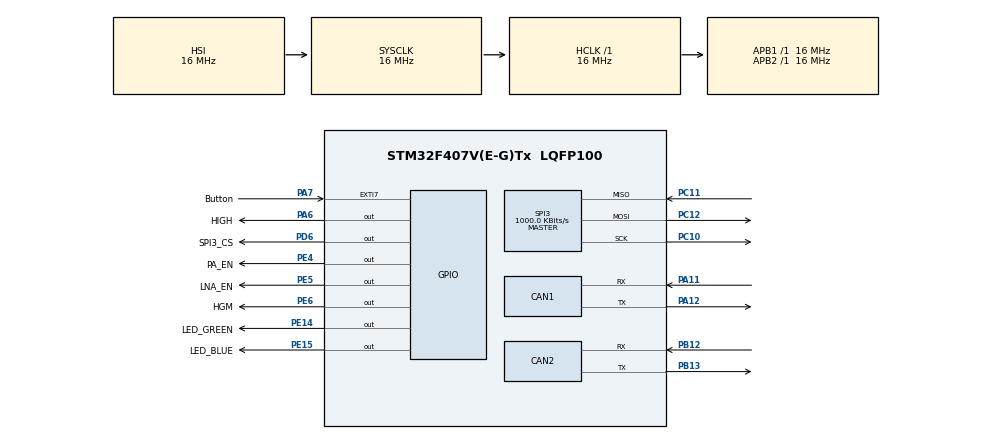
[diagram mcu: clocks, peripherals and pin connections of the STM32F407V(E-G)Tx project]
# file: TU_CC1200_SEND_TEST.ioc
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CAN1.CalculateTimeQuantum=1000.0
CAN2.CalculateTimeQuantum=1000.0
Mcu.Family=STM32F4
Mcu.Name=STM32F407V(E-G)Tx
Mcu.Package=LQFP100
NVIC.EXTI9_5_IRQn=true\:0\:0\:false\:false\:true\:true\:true
NVIC.PriorityGroup=NVIC_PRIORITYGROUP_4
PA11.Mode=Master
PA11.Signal=CAN1_RX
PA12.Mode=Master
PA12.Signal=CAN1_TX
PA13.Mode=Serial_Wire
PA13.Signal=SYS_JTMS-SWDIO
PA14.Mode=Serial_Wire
PA14.Signal=SYS_JTCK-SWCLK
PA6.GPIO_Label=HIGH
PA6.PinState=GPIO_PIN_SET
PA6.Signal=GPIO_Output
PA7.GPIO_Label=Button
PA7.Signal=GPXTI7
PB12.Mode=Slave
PB12.Signal=CAN2_RX
PB13.Mode=Slave
PB13.Signal=CAN2_TX
PC10.Mode=Full_Duplex_Master
PC10.Signal=SPI3_SCK
PC11.Mode=Full_Duplex_Master
PC11.Signal=SPI3_MISO
PC12.Mode=Full_Duplex_Master
PC12.Signal=SPI3_MOSI
PD6.GPIO_Label=SPI3_CS
PD6.Signal=GPIO_Output
PE14.GPIO_Label=LED_GREEN
PE14.Signal=GPIO_Output
PE15.GPIO_Label=LED_BLUE
PE15.Signal=GPIO_Output
PE4.GPIO_Label=PA_EN
PE4.PinState=GPIO_PIN_SET
PE4.Signal=GPIO_Output
PE5.GPIO_Label=LNA_EN
PE5.Signal=GPIO_Output
PE6.GPIO_Label=HGM
PE6.PinState=GPIO_PIN_SET
PE6.Signal=GPIO_Output
ProjectManager.HeapSize=0x200
ProjectManager.StackSize=0x400
ProjectManager.TargetToolchain=STM32CubeIDE
RCC.AHBFreq_Value=16000000
RCC.APB1Freq_Value=16000000
RCC.APB2Freq_Value=16000000
RCC.CortexFreq_Value=16000000
RCC.HSE_VALUE=25000000
RCC.HSI_VALUE=16000000
RCC.LSE_VALUE=32768
RCC.SYSCLKFreq_VALUE=16000000
RCC.VCOOutputFreq_Value=192000000
SPI3.BaudRatePrescaler=SPI_BAUDRATEPRESCALER_16
SPI3.CalculateBaudRate=1000.0 KBits/s
SPI3.Direction=SPI_DIRECTION_2LINES
SPI3.Mode=SPI_MODE_MASTER
SPI3.VirtualType=VM_MASTER
board=custom

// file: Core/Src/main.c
/* USER CODE BEGIN Header */
/**
  ******************************************************************************
  * @file           : main.c
  * @brief          : Main program body
  ******************************************************************************
  * @attention
  *
  * <h2><center>&copy; Copyright (c) 2021 STMicroelectronics.
  * All rights reserved.</center></h2>
  *
  * This software component is licensed by ST under BSD 3-Clause license,
  * the "License"; You may not use this file except in compliance with the
  * License. You may obtain a copy of the License at:
  *                        opensource.org/licenses/BSD-3-Clause
  *
  ******************************************************************************
  */
/* USER CODE END Header */

#include "main.h"

/* USER CODE BEGIN PD */
//COMMAND STROBES
#define SRES           0x30        //Reset chip
#define SFSTXON        0x31        //Enable and calibrate frequency synthesizer (if SETTLING_CFG.FS_AUTOCAL = 1).If in RX and PKT_CFG2.CCA_MODE ≠ 0: Go to a wait state where only the synthesizer isrunning (for quick
#define SXOFF          0x32        //Enter XOFF state when CSn
#define SCAL           0x33        //Calibrate frequency synthesizer and turn it off. SCAL can be strobed from IDLE mode withoutsetting manual calibration mode (SETTLING_CFG.FS_AUTOCAL
#define SRX            0x34        //Enable RX. Perform calibration first if coming from IDLE and SETTLING_CFG.FS_AUTOCAL
#define STX            0x35        //In IDLE state: Enable TX. Perform calibration first if SETTLING_CFG.FS_AUTOCAL = 1. If in RX state and PKT_CFG2.CCA_MODE ≠ 0: Only go to TX if channel
#define SIDLE          0x36        //Exit RX/TX, turn off frequency synthesizer and exit eWOR mode
#define SAFC           0x37        //Automatic
#define SWOR           0x38        //Start automatic RX polling sequence (eWOR) as described in Section 9.6 ifWOR_CFG0.RC_PD
#define SPWD           0x39        //Enter SLEEP mode when CSn
#define SFRX           0x3A        //Flush the RX FIFO. Only issue SFRX in IDLE or
#define SFTX           0x3B        //Flush the TX FIFO. Only issue SFTX in IDLE or
#define SWORRST        0x3C        //Reset the eWOR timer to the
#define SNOP           0x3D        //No operation. May be used to get access to the chip

//configuration registers
#define IOCFG3                   0x0000
#define IOCFG2                   0x0001
#define IOCFG1                   0x0002
#define IOCFG0                   0x0003
#define SYNC3                    0x0004
#define SYNC2                    0x0005
#define SYNC1                    0x0006
#define SYNC0                    0x0007
#define SYNC_CFG1                0x0008
#define SYNC_CFG0                0x0009
#define DEVIATION_M              0x000A
#define MODCFG_DEV_E             0x000B
#define DCFILT_CFG               0x000C
#define PREAMBLE_CFG1            0x000D
#define PREAMBLE_CFG0            0x000E
#define IQIC                     0x000F
#define CHAN_BW                  0x0010
#define MDMCFG1                  0x0011
#define MDMCFG0                  0x0012
#define SYMBOL_RATE2             0x0013
#define SYMBOL_RATE1             0x0014
#define SYMBOL_RATE0             0x0015
#define AGC_REF                  0x0016
#define AGC_CS_THR               0x0017
#define AGC_GAIN_ADJUST          0x0018
#define AGC_CFG3                 0x0019
#define AGC_CFG2                 0x001A
#define AGC_CFG1                 0x001B
#define AGC_CFG0                 0x001C
#define FIFO_CFG                 0x001D
#define DEV_ADDR                 0x001E
#define SETTLING_CFG             0x001F
#define FS_CFG                   0x0020
#define WOR_CFG1                 0x0021
#define WOR_CFG0                 0x0022
#define WOR_EVENT0_MSB           0x0023
#define WOR_EVENT0_LSB           0x0024
#define RXDCM_TIME               0x0025
#define PKT_CFG2                 0x0026
#define PKT_CFG1                 0x0027
#define PKT_CFG0                 0x0028
#define RFEND_CFG1               0x0029
#define RFEND_CFG0               0x002A
#define PA_CFG1                  0x002B
#define PA_CFG0                  0x002C
#define ASK_CFG                  0x002D
#define PKT_LEN                  0x002E

// Extended Configuration Registers
#define IF_MIX_CFG               0x2F00
#define FREQOFF_CFG              0x2F01
#define TOC_CFG                  0x2F02
#define MARC_SPARE               0x2F03
#define ECG_CFG                  0x2F04
#define MDMCFG2                  0x2F05
#define EXT_CTRL                 0x2F06
#define RCCAL_FINE               0x2F07
#define RCCAL_COARSE             0x2F08
#define RCCAL_OFFSET             0x2F09
#define FREQOFF1                 0x2F0A
#define FREQOFF0                 0x2F0B
#define FREQ2                    0x2F0C
#define FREQ1                    0x2F0D
#define FREQ0                    0x2F0E
#define IF_ADC2                  0x2F0F
#define IF_ADC1                  0x2F10
#define IF_ADC0                  0x2F11
#define FS_DIG1                  0x2F12
#define FS_DIG0                  0x2F13
#define FS_CAL3                  0x2F14
#define FS_CAL2                  0x2F15
#define FS_CAL1                  0x2F16
#define FS_CAL0                  0x2F17
#define FS_CHP                   0x2F18
#define FS_DIVTWO                0x2F19
#define FS_DSM1                  0x2F1A
#define FS_DSM0                  0x2F1B
#define FS_DVC1                  0x2F1C
#define FS_DVC0                  0x2F1D
#define FS_LBI                   0x2F1E
#define FS_PFD                   0x2F1F
#define FS_PRE                   0x2F20
#define FS_REG_DIV_CML           0x2F21
#define FS_SPARE                 0x2F22
#define FS_VCO4                  0x2F23
#define FS_VCO3                  0x2F24
#define FS_VCO2                  0x2F25
#define FS_VCO1                  0x2F26
#define FS_VCO0                  0x2F27
#define GBIAS6                   0x2F28
#define GBIAS5                   0x2F29
#define GBIAS4                   0x2F2A
#define GBIAS3                   0x2F2B
#define GBIAS2                   0x2F2C
#define GBIAS1                   0x2F2D
#define GBIAS0                   0x2F2E
#define IFAMP                    0x2F2F
#define LNA                      0x2F30
#define RXMIX                    0x2F31
#define XOSC5                    0x2F32
#define XOSC4                    0x2F33
#define XOSC3                    0x2F34
#define XOSC2                    0x2F35
#define XOSC1                    0x2F36
#define XOSC0                    0x2F37
#define ANALOG_SPARE             0x2F38
#define PA_CFG3                  0x2F39
#define IRQ0M                    0x2F3F
#define IRQ0F                    0x2F40

// Status Registers
#define WOR_TIME1                0x2F64
#define WOR_TIME0                0x2F65
#define WOR_CAPTURE1             0x2F66
#define WOR_CAPTURE0             0x2F67
#define BIST                     0x2F68
#define DCFILTOFFSET_I1          0x2F69
#define DCFILTOFFSET_I0          0x2F6A
#define DCFILTOFFSET_Q1          0x2F6B
#define DCFILTOFFSET_Q0          0x2F6C
#define IQIE_I1                  0x2F6D
#define IQIE_I0                  0x2F6E
#define IQIE_Q1                  0x2F6F
#define IQIE_Q0                  0x2F70
#define RSSI1                    0x2F71
#define RSSI0                    0x2F72
#define MARCSTATE                0x2F73
#define LQI_VAL                  0x2F74
#define PQT_SYNC_ERR             0x2F75
#define DEM_STATUS               0x2F76
#define FREQOFF_EST1             0x2F77
#define FREQOFF_EST0             0x2F78
#define AGC_GAIN3                0x2F79
#define AGC_GAIN2                0x2F7A
#define AGC_GAIN1                0x2F7B
#define AGC_GAIN0                0x2F7C
#define CFM_RX_DATA_OUT          0x2F7D
#define CFM_TX_DATA_IN           0x2F7E
#define ASK_SOFT_RX_DATA         0x2F7F
#define RNDGEN                   0x2F80
#define MAGN2                    0x2F81
#define MAGN1                    0x2F82
#define MAGN0                    0x2F83
#define ANG1                     0x2F84
#define ANG0                     0x2F85
#define CHFILT_I2                0x2F86
#define CHFILT_I1                0x2F87
#define CHFILT_I0                0x2F88
#define CHFILT_Q2                0x2F89
#define CHFILT_Q1                0x2F8A
#define CHFILT_Q0                0x2F8B
#define GPIO_STATUS              0x2F8C
#define FSCAL_CTRL               0x2F8D
#define PHASE_ADJUST             0x2F8E
#define PARTNUMBER               0x2F8F
#define PARTVERSION              0x2F90
#define SERIAL_STATUS            0x2F91
#define MODEM_STATUS1            0x2F92
#define MODEM_STATUS0            0x2F93
#define MARC_STATUS1             0x2F94
#define MARC_STATUS0             0x2F95
#define PA_IFAMP_TEST            0x2F96
#define FSRF_TEST                0x2F97
#define PRE_TEST                 0x2F98
#define PRE_OVR                  0x2F99
#define ADC_TEST                 0x2F9A
#define DVC_TEST                 0x2F9B
#define ATEST                    0x2F9C
#define ATEST_LVDS               0x2F9D
#define ATEST_MODE               0x2F9E
#define XOSC_TEST1               0x2F9F
#define XOSC_TEST0               0x2FA0
#define AES                      0x2FA1
#define MDM_TEST                 0x2FA2

#define RXFIRST                  0x2FD2
#define TXFIRST                  0x2FD3
#define RXLAST                   0x2FD4
#define TXLAST                   0x2FD5
#define NUM_TXBYTES              0x2FD6  /* Number of bytes in TXFIFO */
#define NUM_RXBYTES              0x2FD7  /* Number of bytes in RXFIFO */
#define FIFO_NUM_TXBYTES         0x2FD8
#define FIFO_NUM_RXBYTES         0x2FD9
#define RXFIFO_PRE_BUF           0x2FDA

// DATA FIFO Access
#define SINGLE_TXFIFO            0x003F     /*  TXFIFO  - Single accecss to Transmit FIFO */
#define BURST_TXFIFO             0x007F     /*  TXFIFO  - Burst accecss to Transmit FIFO  */
#define SINGLE_RXFIFO            0x00BF     /*  RXFIFO  - Single accecss to Receive FIFO  */
#define BURST_RXFIFO             0x00FF     /*  RXFIFO  - Busrrst ccecss to Receive FIFO  */

// Other Register Access
#define RADIO_BURST_ACCESS   	0x40
#define RADIO_SINGLE_ACCESS  	0x00
#define RADIO_READ_ACCESS    	0x80
#define RADIO_WRITE_ACCESS   	0x00

/* USER CODE END PD */

CAN_HandleTypeDef hcan1;
CAN_HandleTypeDef hcan2;

SPI_HandleTypeDef hspi3;

/* USER CODE BEGIN PV */
char SPI_BUFFER[8];
int state = 2;
int prev_state = 1;

/* USER CODE END PV */

void SystemClock_Config(void);
static void MX_GPIO_Init(void);
static void MX_CAN1_Init(void);
static void MX_CAN2_Init(void);
static void MX_SPI3_Init(void);

/* USER CODE BEGIN 0 */
// Select CS
void CS_Select()  {
	HAL_GPIO_WritePin(SPI3_CS_GPIO_Port, SPI3_CS_Pin, GPIO_PIN_RESET);

}

// Deselect CS
void CS_Deselect()  {
	HAL_GPIO_WritePin(SPI3_CS_GPIO_Port, SPI3_CS_Pin, GPIO_PIN_SET);

}

// Waits until MISO goes low
void wait_Miso() {
	while(HAL_GPIO_ReadPin(GPIOC,GPIO_PIN_11)>0){
		__NOP();
	}
}

//Write to register
void writeReg(uint16_t regAddr, uint8_t value)
{
	uint8_t extended_or_not  = (uint8_t)(regAddr>>8);
	uint8_t extended_addr = (uint8_t)(regAddr & 0x00FF);
	if (extended_or_not == 0){
		CS_Select();                     									   // Select CS
		wait_Miso();                          							  	 // Wait until MISO goes low
		HAL_SPI_Transmit(&hspi3, (uint8_t*)&regAddr, 1, 100);                // Send register address
		HAL_SPI_Transmit(&hspi3, (uint8_t*)&value, 1, 100);                  // Send value
		CS_Deselect();                    	   							   // Deselect CC1101
	}
	else if (extended_or_not == 0x2F){
		CS_Select();                     								   // Select CS
		wait_Miso();                          							   // Wait until MISO goes low
		HAL_SPI_Transmit(&hspi3, (uint8_t*)&extended_or_not, 1, 100);      // Access the extended registers
		HAL_SPI_Transmit(&hspi3, (uint8_t*)&extended_addr, 1, 100);        // Send register address
		HAL_SPI_Transmit(&hspi3, (uint8_t*)&value, 1, 100);				   // Send value
		CS_Deselect();                    	   							   // Deselect CC1101
	}
}

// Write to register (ONLY USED FOR SETTING THE INTIAL SETTINGS. The name is "halRfWriteReg" so it matches with SMARTRF Studio
void halRfWriteReg(uint16_t setting, uint8_t value)
{
	writeReg(setting, value);
}

// Send command strobe (FIFO_BYTES_AVAILABLE CASE 1)
void command_strobe1(uint8_t cmd){
    cmd = cmd | 0x00;                									// | 0x00 means that R/W=0(FIFO_BYTES_AVAILABLE means the TXFIFO when status byte has been sent)/ burst=0(strobe)
    CS_Select();            		 									// set the CS pin to LOW
    wait_Miso();                          								// Wait until MISO goes low
    HAL_SPI_Transmit(&hspi3, (uint8_t*)&cmd, 1, 100);                   // Send register address
    CS_Deselect();
  }

// Read register
void readReg(uint16_t regAddr) {
    uint8_t addr;
    uint8_t extended_or_not  = (uint8_t)(regAddr>>8);
    uint8_t extended_addr = (uint8_t)(regAddr & 0x00FF);
    // With cc1200 there are 2 types of register accesses and the following code choose the right one.
    if (extended_or_not == 0){
		addr = regAddr | RADIO_READ_ACCESS;			  						 // Bitwise and to get the right address
		CS_Select();                										 // set the SS pin to LOW
		wait_Miso();                          								 // Wait until MISO goes low
		HAL_SPI_Transmit(&hspi3, (uint8_t*)&addr, 1, 100);                   // Send register address
		HAL_SPI_Receive(&hspi3, (uint8_t*)&SPI_BUFFER, 1, 100);            	 // Read result
		CS_Deselect();                    							 		 // set the SS pin to HIGH
	}
    else if (extended_or_not == 0x2F){
    	extended_or_not = extended_or_not | RADIO_READ_ACCESS;			  				 // Bitwise and to get the right address
		CS_Select();                										 // set the SS pin to LOW
		wait_Miso();                          								 // Wait until MISO goes low
		HAL_SPI_Transmit(&hspi3, (uint8_t*)&extended_or_not, 1, 100);		 // Access the extended registers
		HAL_SPI_Transmit(&hspi3, (uint8_t*)&extended_addr, 1, 100);                   // Send register address
		HAL_SPI_Receive(&hspi3, (uint8_t*)&SPI_BUFFER, 1, 100);            	 // Read result
		CS_Deselect();                    							 		 // set the SS pin to HIGH

    }
}

// Send data with sequence numbers
void send_data_sequence(char databuffer[],uint8_t length,uint16_t sequence ){
	int i;
	uint8_t element;
	uint8_t LSB_seq;
	uint8_t MSB_seq;
	LSB_seq = sequence & 0xFF;
	MSB_seq = sequence >> 8;
	CS_Select();                		 								// set the CS pin to LOW
    wait_Miso();                         								// Wait until MISO goes low
    uint8_t TXfifo = SINGLE_TXFIFO;
    HAL_SPI_Transmit(&hspi3, (uint8_t*)&TXfifo, 1, 100);               // Access the TX_FIFO register
    HAL_SPI_Transmit(&hspi3, (uint8_t*)&length, 1, 100);			   // Send length of data
    HAL_SPI_Transmit(&hspi3, (uint8_t*)&TXfifo, 1, 100);               // Access the TX_FIFO register
    HAL_SPI_Transmit(&hspi3, (uint8_t*)&MSB_seq, 1, 100);			   // Send MSB of sequence number
    HAL_SPI_Transmit(&hspi3, (uint8_t*)&TXfifo, 1, 100);               // Access the TX_FIFO register
    HAL_SPI_Transmit(&hspi3, (uint8_t*)&LSB_seq, 1, 100);			   // Send LSB of sequence number
    for (i = 0; i < length-2; ++i)
        {
          element = databuffer[i];
		  HAL_SPI_Transmit(&hspi3, (uint8_t*)&TXfifo, 1, 100);               // Send the data
		  HAL_SPI_Transmit(&hspi3, (uint8_t*)&element, 1, 100);                  // Send data
        }
    CS_Deselect();
}

/* USER CODE END 0 */

int main(void)
{
  /* USER CODE BEGIN 1 */

	int datalen = 4;   // Set length of payload. Note that the first length byte is not inluded in this.
						// However the 2 sequence bytes are included. Max value is 63.
	char data[datalen];

	uint16_t sequence_number = 1;
  /* USER CODE END 1 */

  /* MCU Configuration--------------------------------------------------------*/

  /* Reset of all peripherals, Initializes the Flash interface and the Systick. */
  HAL_Init();

  /* Configure the system clock */
  SystemClock_Config();

  /* Initialize all configured peripherals */
  MX_GPIO_Init();
  MX_CAN1_Init();
  MX_CAN2_Init();
  MX_SPI3_Init();
  /* USER CODE BEGIN 2 */
  HAL_GPIO_WritePin(SPI3_CS_GPIO_Port, SPI3_CS_Pin, GPIO_PIN_SET);
  HAL_GPIO_WritePin(PA_EN_GPIO_Port, PA_EN_Pin, GPIO_PIN_SET);
  HAL_GPIO_WritePin(HGM_GPIO_Port, HGM_Pin, GPIO_PIN_RESET);
  HAL_GPIO_WritePin(LNA_EN_GPIO_Port, LNA_EN_Pin, GPIO_PIN_RESET);
  HAL_GPIO_WritePin(LED_GREEN_GPIO_Port, LED_GREEN_Pin, GPIO_PIN_SET);
  HAL_GPIO_WritePin(LED_BLUE_GPIO_Port, LED_BLUE_Pin, GPIO_PIN_RESET);

  // CC1200_settings
  halRfWriteReg(IOCFG2,0x06);        //GPIO2 IO Pin Configuration
  halRfWriteReg(SYNC_CFG1,0xA9);     //Sync Word Detection Configuration Reg. 1
  halRfWriteReg(MODCFG_DEV_E,0x0B);  //Modulation Format and Frequency Deviation Configur..
  halRfWriteReg(PREAMBLE_CFG0,0x8A); //Preamble Detection Configuration Reg. 0
  halRfWriteReg(IQIC,0xC8);          //Digital Image Channel Compensation Configuration
  halRfWriteReg(CHAN_BW,0x0B);       //Channel Filter Configuration
  halRfWriteReg(MDMCFG1,0x40);       //General Modem Parameter Configuration Reg. 1
  halRfWriteReg(MDMCFG0,0x05);       //General Modem Parameter Configuration Reg. 0
  halRfWriteReg(SYMBOL_RATE2,0x9C);  //Symbol Rate Configuration Exponent and Mantissa [1..
  halRfWriteReg(SYMBOL_RATE1,0xAC);  //Symbol Rate Configuration Mantissa [15:8]
  halRfWriteReg(SYMBOL_RATE0,0x08);  //Symbol Rate Configuration Mantissa [7:0]
  halRfWriteReg(AGC_REF,0x28);       //AGC Reference Level Configuration
  halRfWriteReg(AGC_CS_THR,0xEE);    //Carrier Sense Threshold Configuration
  halRfWriteReg(AGC_CFG1,0x11);      //Automatic Gain Control Configuration Reg. 1
  halRfWriteReg(AGC_CFG0,0x94);      //Automatic Gain Control Configuration Reg. 0
  halRfWriteReg(FIFO_CFG,0x00);      //FIFO Configuration
  halRfWriteReg(FS_CFG,0x12);        //Frequency Synthesizer Configuration
  halRfWriteReg(PKT_CFG2,0x00);      //Packet Configuration Reg. 2
  halRfWriteReg(PKT_CFG1,0x43);      //Packet Configuration Reg. 1
  halRfWriteReg(PKT_CFG0,0x20);      //Packet Configuration Reg. 0
  halRfWriteReg(PA_CFG0,0x53);       //Power Amplifier Configuration Reg. 0
  halRfWriteReg(PKT_LEN,0xFF);       //Packet Length Configuration
  halRfWriteReg(IF_MIX_CFG,0x1C);    //IF Mix Configuration
  halRfWriteReg(FREQOFF_CFG,0x22);   //Frequency Offset Correction Configuration
  halRfWriteReg(TOC_CFG,0x03);       //Timing Offset Correction Configuration
  halRfWriteReg(MDMCFG2,0x02);       //General Modem Parameter Configuration Reg. 2
  halRfWriteReg(FREQ2,0x57);         //Frequency Configuration [23:16]
  halRfWriteReg(FREQ1,0x0F);         //Frequency Configuration [15:8]
  halRfWriteReg(FREQ0,0x5C);         //Frequency Configuration [7:0]
  halRfWriteReg(IF_ADC1,0xEE);       //Analog to Digital Converter Configuration Reg. 1
  halRfWriteReg(IF_ADC0,0x10);       //Analog to Digital Converter Configuration Reg. 0
  halRfWriteReg(FS_DIG1,0x04);       //Frequency Synthesizer Digital Reg. 1
  halRfWriteReg(FS_DIG0,0x50);       //Frequency Synthesizer Digital Reg. 0
  halRfWriteReg(FS_CAL1,0x40);       //Frequency Synthesizer Calibration Reg. 1
  halRfWriteReg(FS_CAL0,0x0E);       //Frequency Synthesizer Calibration Reg. 0
  halRfWriteReg(FS_DIVTWO,0x03);     //Frequency Synthesizer Divide by 2
  halRfWriteReg(FS_DSM0,0x33);       //FS Digital Synthesizer Module Configuration Reg. 0
  halRfWriteReg(FS_DVC1,0xF7);       //Frequency Synthesizer Divider Chain Configuration ..
  halRfWriteReg(FS_DVC0,0x0F);       //Frequency Synthesizer Divider Chain Configuration ..
  halRfWriteReg(FS_PFD,0x00);        //Frequency Synthesizer Phase Frequency Detector Con..
  halRfWriteReg(FS_PRE,0x6E);        //Frequency Synthesizer Prescaler Configuration
  halRfWriteReg(FS_REG_DIV_CML,0x1C);//Frequency Synthesizer Divider Regulator Configurat..
  halRfWriteReg(FS_SPARE,0xAC);      //Frequency Synthesizer Spare
  halRfWriteReg(FS_VCO0,0xB5);       //FS Voltage Controlled Oscillator Configuration Reg..
  halRfWriteReg(IFAMP,0x09);         //Intermediate Frequency Amplifier Configuration
  halRfWriteReg(XOSC5,0x0E);         //Crystal Oscillator Configuration Reg. 5
  halRfWriteReg(XOSC1,0x03);         //Crystal Oscillator Configuration Reg. 1
  halRfWriteReg(PARTNUMBER,0x20);    //Part Number
  halRfWriteReg(PARTVERSION,0x11);   //Part Revision
  halRfWriteReg(MODEM_STATUS1,0x10); //Modem Status Reg. 1

  // Create data array
	int i;
	for (i = 0; i < sizeof(data); ++i)
	  {
		data[i] = 2 * i;
	  }
  /* USER CODE END 2 */

  /* Infinite loop */
  /* USER CODE BEGIN WHILE */
  while (1)
  {

	  if (state == 2){
		  if (prev_state != 2){
		  readReg(MARCSTATE);
		  sequence_number = 1;
		  prev_state = 2;

	  	  }

	  }
	  if (state == 1){

		  if (prev_state != 1){

		  readReg(MARCSTATE);

		  readReg(NUM_TXBYTES);

		  prev_state = 1;
		  }

		  readReg(NUM_TXBYTES);
		  if (SPI_BUFFER[0] == 0){

		  send_data_sequence(data, datalen,sequence_number);

		  sequence_number += 1;
		  if (sequence_number > 10000){
			  sequence_number = 1;
		  }
		  }

//		  readReg(TXBYTES, STATUS_REGISTER);

		  readReg(NUM_TXBYTES);
		  command_strobe1(STX);

		  //command_strobe1(SFTX); VAR FÖRSIKTIG!!!!!!!

	  }
	  HAL_Delay(1);

    /* USER CODE END WHILE */

  }
}

void SystemClock_Config(void)
{
  RCC_OscInitTypeDef RCC_OscInitStruct = {0};
  RCC_ClkInitTypeDef RCC_ClkInitStruct = {0};

  /** Configure the main internal regulator output voltage
  */
  __HAL_RCC_PWR_CLK_ENABLE();
  __HAL_PWR_VOLTAGESCALING_CONFIG(PWR_REGULATOR_VOLTAGE_SCALE1);
  /** Initializes the CPU, AHB and APB busses clocks
  */
  RCC_OscInitStruct.OscillatorType = RCC_OSCILLATORTYPE_HSI;
  RCC_OscInitStruct.HSIState = RCC_HSI_ON;
  RCC_OscInitStruct.HSICalibrationValue = RCC_HSICALIBRATION_DEFAULT;
  RCC_OscInitStruct.PLL.PLLState = RCC_PLL_NONE;
  if (HAL_RCC_OscConfig(&RCC_OscInitStruct) != HAL_OK)
  {
    Error_Handler();
  }
  /** Initializes the CPU, AHB and APB busses clocks
  */
  RCC_ClkInitStruct.ClockType = RCC_CLOCKTYPE_HCLK|RCC_CLOCKTYPE_SYSCLK
                              |RCC_CLOCKTYPE_PCLK1|RCC_CLOCKTYPE_PCLK2;
  RCC_ClkInitStruct.SYSCLKSource = RCC_SYSCLKSOURCE_HSI;
  RCC_ClkInitStruct.AHBCLKDivider = RCC_SYSCLK_DIV1;
  RCC_ClkInitStruct.APB1CLKDivider = RCC_HCLK_DIV1;
  RCC_ClkInitStruct.APB2CLKDivider = RCC_HCLK_DIV1;

  if (HAL_RCC_ClockConfig(&RCC_ClkInitStruct, FLASH_LATENCY_0) != HAL_OK)
  {
    Error_Handler();
  }
}

static void MX_CAN1_Init(void)
{

  hcan1.Instance = CAN1;
  hcan1.Init.Prescaler = 16;
  hcan1.Init.Mode = CAN_MODE_NORMAL;
  hcan1.Init.SyncJumpWidth = CAN_SJW_1TQ;
  hcan1.Init.TimeSeg1 = CAN_BS1_1TQ;
  hcan1.Init.TimeSeg2 = CAN_BS2_1TQ;
  hcan1.Init.TimeTriggeredMode = DISABLE;
  hcan1.Init.AutoBusOff = DISABLE;
  hcan1.Init.AutoWakeUp = DISABLE;
  hcan1.Init.AutoRetransmission = DISABLE;
  hcan1.Init.ReceiveFifoLocked = DISABLE;
  hcan1.Init.TransmitFifoPriority = DISABLE;
  if (HAL_CAN_Init(&hcan1) != HAL_OK)
  {
    Error_Handler();
  }

}

static void MX_CAN2_Init(void)
{

  hcan2.Instance = CAN2;
  hcan2.Init.Prescaler = 16;
  hcan2.Init.Mode = CAN_MODE_NORMAL;
  hcan2.Init.SyncJumpWidth = CAN_SJW_1TQ;
  hcan2.Init.TimeSeg1 = CAN_BS1_1TQ;
  hcan2.Init.TimeSeg2 = CAN_BS2_1TQ;
  hcan2.Init.TimeTriggeredMode = DISABLE;
  hcan2.Init.AutoBusOff = DISABLE;
  hcan2.Init.AutoWakeUp = DISABLE;
  hcan2.Init.AutoRetransmission = DISABLE;
  hcan2.Init.ReceiveFifoLocked = DISABLE;
  hcan2.Init.TransmitFifoPriority = DISABLE;
  if (HAL_CAN_Init(&hcan2) != HAL_OK)
  {
    Error_Handler();
  }

}

static void MX_SPI3_Init(void)
{

  /* SPI3 parameter configuration*/
  hspi3.Instance = SPI3;
  hspi3.Init.Mode = SPI_MODE_MASTER;
  hspi3.Init.Direction = SPI_DIRECTION_2LINES;
  hspi3.Init.DataSize = SPI_DATASIZE_8BIT;
  hspi3.Init.CLKPolarity = SPI_POLARITY_LOW;
  hspi3.Init.CLKPhase = SPI_PHASE_1EDGE;
  hspi3.Init.NSS = SPI_NSS_SOFT;
  hspi3.Init.BaudRatePrescaler = SPI_BAUDRATEPRESCALER_16;
  hspi3.Init.FirstBit = SPI_FIRSTBIT_MSB;
  hspi3.Init.TIMode = SPI_TIMODE_DISABLE;
  hspi3.Init.CRCCalculation = SPI_CRCCALCULATION_DISABLE;
  hspi3.Init.CRCPolynomial = 10;
  if (HAL_SPI_Init(&hspi3) != HAL_OK)
  {
    Error_Handler();
  }

}

static void MX_GPIO_Init(void)
{
  GPIO_InitTypeDef GPIO_InitStruct = {0};

  /* GPIO Ports Clock Enable */
  __HAL_RCC_GPIOE_CLK_ENABLE();
  __HAL_RCC_GPIOA_CLK_ENABLE();
  __HAL_RCC_GPIOB_CLK_ENABLE();
  __HAL_RCC_GPIOC_CLK_ENABLE();
  __HAL_RCC_GPIOD_CLK_ENABLE();

  /*Configure GPIO pin Output Level */
  HAL_GPIO_WritePin(GPIOE, PA_EN_Pin|HGM_Pin, GPIO_PIN_SET);

  /*Configure GPIO pin Output Level */
  HAL_GPIO_WritePin(GPIOE, LNA_EN_Pin|LED_GREEN_Pin|LED_BLUE_Pin, GPIO_PIN_RESET);

  /*Configure GPIO pin Output Level */
  HAL_GPIO_WritePin(HIGH_GPIO_Port, HIGH_Pin, GPIO_PIN_SET);

  /*Configure GPIO pin Output Level */
  HAL_GPIO_WritePin(SPI3_CS_GPIO_Port, SPI3_CS_Pin, GPIO_PIN_RESET);

  /*Configure GPIO pins : PA_EN_Pin LNA_EN_Pin HGM_Pin LED_GREEN_Pin
                           LED_BLUE_Pin */
  GPIO_InitStruct.Pin = PA_EN_Pin|LNA_EN_Pin|HGM_Pin|LED_GREEN_Pin
                          |LED_BLUE_Pin;
  GPIO_InitStruct.Mode = GPIO_MODE_OUTPUT_PP;
  GPIO_InitStruct.Pull = GPIO_NOPULL;
  GPIO_InitStruct.Speed = GPIO_SPEED_FREQ_LOW;
  HAL_GPIO_Init(GPIOE, &GPIO_InitStruct);

  /*Configure GPIO pin : HIGH_Pin */
  GPIO_InitStruct.Pin = HIGH_Pin;
  GPIO_InitStruct.Mode = GPIO_MODE_OUTPUT_PP;
  GPIO_InitStruct.Pull = GPIO_NOPULL;
  GPIO_InitStruct.Speed = GPIO_SPEED_FREQ_LOW;
  HAL_GPIO_Init(HIGH_GPIO_Port, &GPIO_InitStruct);

  /*Configure GPIO pin : Button_Pin */
  GPIO_InitStruct.Pin = Button_Pin;
  GPIO_InitStruct.Mode = GPIO_MODE_IT_RISING;
  GPIO_InitStruct.Pull = GPIO_NOPULL;
  HAL_GPIO_Init(Button_GPIO_Port, &GPIO_InitStruct);

  /*Configure GPIO pin : SPI3_CS_Pin */
  GPIO_InitStruct.Pin = SPI3_CS_Pin;
  GPIO_InitStruct.Mode = GPIO_MODE_OUTPUT_PP;
  GPIO_InitStruct.Pull = GPIO_NOPULL;
  GPIO_InitStruct.Speed = GPIO_SPEED_FREQ_LOW;
  HAL_GPIO_Init(SPI3_CS_GPIO_Port, &GPIO_InitStruct);

  /* EXTI interrupt init*/
  HAL_NVIC_SetPriority(EXTI9_5_IRQn, 0, 0);
  HAL_NVIC_EnableIRQ(EXTI9_5_IRQn);

}

/* USER CODE BEGIN 4 */
void  HAL_GPIO_EXTI_Callback(uint16_t GPIO_Pin){

	if (GPIO_Pin == Button_Pin) {
			if (state == 1){
				state = 2;
				HAL_GPIO_WritePin(LED_BLUE_GPIO_Port, LED_BLUE_Pin, GPIO_PIN_RESET);

				  }
			else {
				state = 1;
				HAL_GPIO_WritePin(LED_BLUE_GPIO_Port, LED_BLUE_Pin, GPIO_PIN_SET);

			}
	}
}
/* USER CODE END 4 */

void Error_Handler(void)
{
}

/************************ (C) COPYRIGHT STMicroelectronics *****END OF FILE****/
